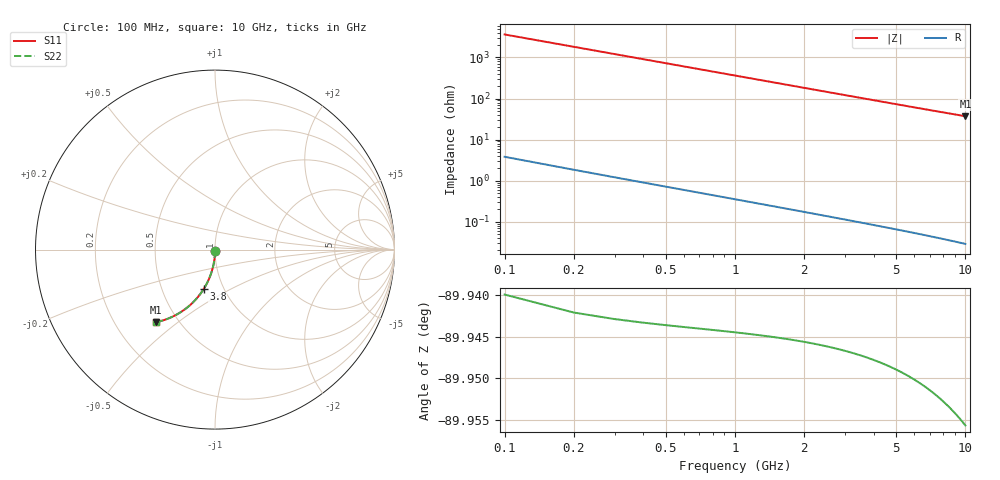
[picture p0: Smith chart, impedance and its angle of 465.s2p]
# Hz S RI R 50.00
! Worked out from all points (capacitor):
!   100 points, 100 MHz to 10 GHz, reference 50 ohm
!   read as one part in shunt: C = 438 fF near 100 MHz
!   lowest |Z| = 37.1 ohm at 10 GHz (marker M1)
!   S11 on the Smith chart (normalised r, x): 100 MHz: 1.00, -0.01; 3.8 GHz: 0.80, -0.37; 10 GHz: 0.38, -0.42
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1e8  0.000264 -0.00623  0.9996 -0.00753  0.9996 -0.00753  0.000264 -0.00623
2e8  0.000119 -0.0125  0.9995 -0.015  0.9995 -0.015  0.000119 -0.0125
3e8  -0.000121 -0.0187  0.9992 -0.0226  0.9992 -0.0226  -0.000121 -0.0187
4e8  -0.000454 -0.0249  0.9989 -0.0301  0.9989 -0.0301  -0.000454 -0.0249
5e8  -0.00088 -0.0311  0.9985 -0.0376  0.9985 -0.0376  -0.00088 -0.0311
6e8  -0.0014 -0.0373  0.9979 -0.0451  0.9979 -0.0451  -0.0014 -0.0373
7e8  -0.00201 -0.0435  0.9973 -0.0526  0.9973 -0.0526  -0.00201 -0.0435
8e8  -0.00272 -0.0497  0.9966 -0.0601  0.9966 -0.0601  -0.00272 -0.0497
9e8  -0.00352 -0.0558  0.9958 -0.0675  0.9958 -0.0675  -0.00352 -0.0558
1.1e9  -0.00539 -0.0681  0.9939 -0.0824  0.9939 -0.0824  -0.00539 -0.0681
1.4e9  -0.00888 -0.0864  0.9903 -0.1045  0.9903 -0.1045  -0.00888 -0.0864
1.8e9  -0.0148 -0.1103  0.9843 -0.1337  0.9843 -0.1337  -0.0148 -0.1103
2.1e9  -0.0201 -0.128  0.9788 -0.1553  0.9788 -0.1553  -0.0201 -0.128
2.5e9  -0.0284 -0.151  0.9704 -0.1835  0.9704 -0.1835  -0.0284 -0.151
2.9e9  -0.0379 -0.1734  0.9607 -0.2111  0.9607 -0.2111  -0.0379 -0.1734
3.4e9  -0.0516 -0.2002  0.9468 -0.2445  0.9468 -0.2445  -0.0516 -0.2002
3.8e9  -0.0637 -0.2207  0.9344 -0.2702  0.9344 -0.2702  -0.0637 -0.2207
4.4e9  -0.0838 -0.2497  0.9138 -0.3071  0.9138 -0.3071  -0.0838 -0.2497
5.1e9  -0.1098 -0.2806  0.8873 -0.3472  0.8873 -0.3472  -0.1098 -0.2806
6.7e9  -0.1766 -0.3388  0.8188 -0.4266  0.8188 -0.4266  -0.1766 -0.3388
8.4e9  -0.2537 -0.3812  0.7394 -0.4918  0.7394 -0.4918  -0.2537 -0.3812
1e10  -0.3271 -0.4042  0.6634 -0.5365  0.6634 -0.5365  -0.3271 -0.4042
